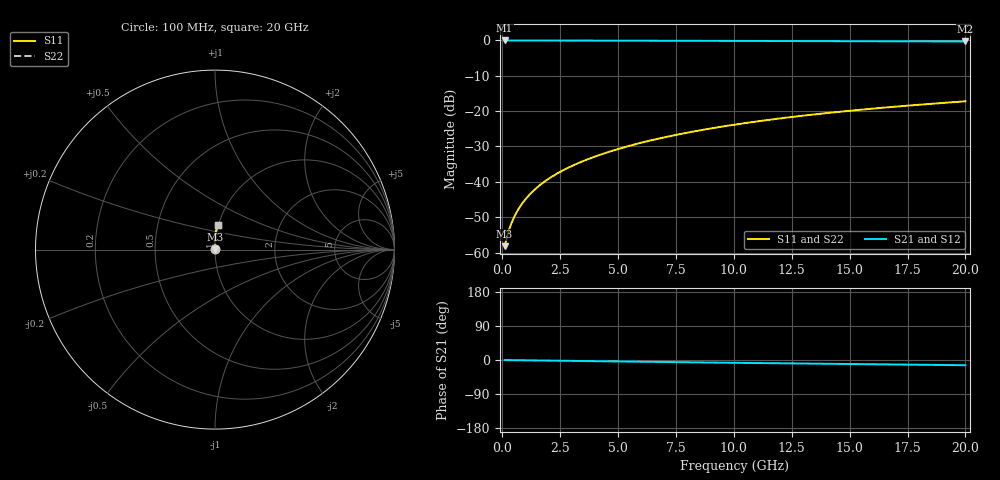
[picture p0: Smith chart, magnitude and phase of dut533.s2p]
! Touchstone file exported from HFSS 2024.1.0
!  File:  C:/UserFiles/LocalFiles/RDL_TSV_Batchsim/temp_RDL_top_533_1779680275.aedt
!  Generated:  11:40:12 AM May 25, 2026
!  Design:  RDL_top
!  Project:  temp_RDL_top_533_1779680275
!  Setup:  Setup1
!  Solution:  Sweep
! Variables:
!  dtsv = 10.80580581um
!  hbump = 3um
!  htsv = 98.83um
!  ldown = 100um
!  lrdl = 173.76um
!  p = 40
!  p1 = 48.92um
!  rhole = 1um
!  t = 450um
!  tdown = 3.915915916um
!  trdl = 2.99um
!  wdown = 15.38538539um
!  wrdl = 26.99um
# GHz S MA R 50.000000
! Terminal data exported
! Port[1] = Box2_T1
! Port[2] = Box2_T2
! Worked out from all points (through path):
!   200 points, 100 MHz to 20 GHz, reference 50 ohm
!   highest |S21| = -0.01 dB at 100 MHz (marker M1); lowest = -0.3 dB at 20 GHz (marker M2)
!   group delay of S21, straight-line fit = 1.89 ps
!   lowest |S11| = -58.2 dB at 100 MHz (marker M3), VSWR 1.00, Z = 50.1 + j0.0625 ohm
!   |S11| at or under -10 dB: start of sweep to end of sweep
!   |S22| runs from -58.2 to -17.2 dB; largest |S21 - S12| = 2.8e-15
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0.1  0.00123 30.4  0.9989 -0.1  0.9989 -0.1  0.00123 30.4
! Gamma 0 0 0 0
! Port Impedance 50 0 50 0
0.2  0.001649 47.8  0.9989 -0.2  0.9989 -0.2  0.001649 47.8
0.3  0.002131 57.1  0.9988 -0.3  0.9988 -0.3  0.002131 57.1
0.4  0.002626 62.8  0.9987 -0.3  0.9987 -0.3  0.002626 62.8
0.5  0.003123 66.9  0.9987 -0.4  0.9987 -0.4  0.003123 66.9
0.6  0.003622 70.0  0.9986 -0.5  0.9986 -0.5  0.003622 70.0
0.8  0.004634 74.4  0.9985 -0.7  0.9985 -0.7  0.004634 74.4
1.1  0.006185 78.8  0.9983 -0.9  0.9983 -0.9  0.006185 78.8
1.3  0.00724 80.9  0.9982 -1.1  0.9982 -1.1  0.00724 80.9
1.6  0.008849 83.2  0.9979 -1.3  0.9979 -1.3  0.008849 83.2
2.1  0.0116 85.9  0.9974 -1.7  0.9974 -1.7  0.0116 85.9
2.7  0.01499 88.0  0.9967 -2.2  0.9967 -2.2  0.01499 88.0
3.5  0.0197 89.9  0.9956 -2.8  0.9956 -2.8  0.0197 89.9
4.2  0.024 91.0  0.9944 -3.3  0.9944 -3.3  0.024 91.0
5  0.02909 91.7  0.9929 -3.9  0.9929 -3.9  0.02909 91.7
6.8  0.04119 92.3  0.9894 -5.2  0.9894 -5.2  0.04119 92.3
8.4  0.05251 91.9  0.9862 -6.3  0.9862 -6.3  0.05251 91.9
10.1  0.06488 90.9  0.9828 -7.4  0.9828 -7.4  0.06488 90.9
11.7  0.07669 89.8  0.9798 -8.5  0.9798 -8.5  0.07669 89.8
13.4  0.0893 88.4  0.9768 -9.6  0.9768 -9.6  0.0893 88.4
16.7  0.1137 85.7  0.9712 -11.7  0.9712 -11.7  0.1137 85.7
20  0.1377 82.9  0.9659 -13.8  0.9659 -13.8  0.1377 82.9
